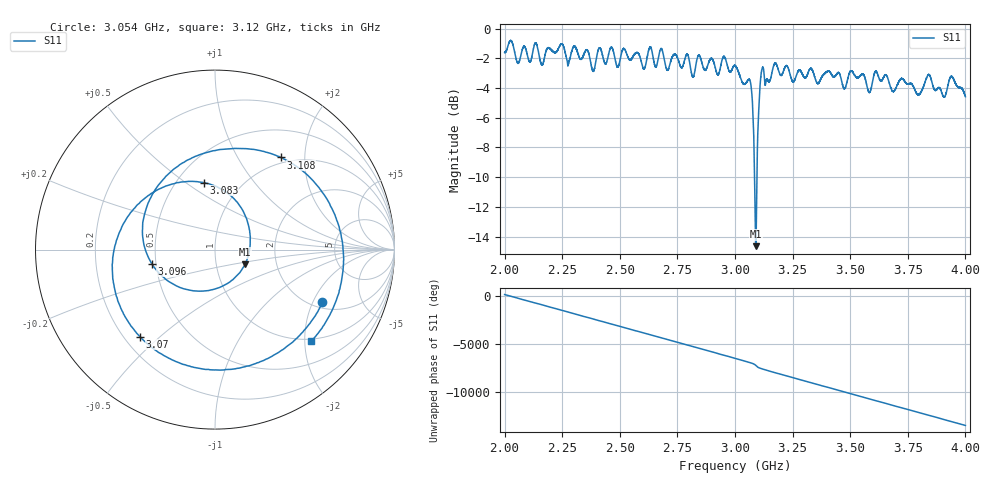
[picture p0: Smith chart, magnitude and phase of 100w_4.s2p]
!Agilent Technologies,E8362B,MY43021131,A.07.50.67
!Agilent E8362B: A.07.50.67
!Date: Thursday, March 14, 2024 14:07:47
!Correction: S11(Off)
!S21(Off)
!S12(Off)
!S22(Off)
!S2P File: Measurements: S11, S21, S12, S22:
# Hz S  RI  R 50
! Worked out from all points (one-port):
!   20001 points, 2 GHz to 4 GHz, reference 50 ohm
!   lowest |S11| = -14.6 dB at 3.09 GHz (marker M1), VSWR 1.45, Z = 68.8 - j11.6 ohm
!   |S11| at or under -10 dB: 3.085043 GHz to 3.095195 GHz (10.15 MHz wide, 0.329 % of centre)
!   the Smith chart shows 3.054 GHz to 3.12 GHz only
!   S11 on the Smith chart (normalised r, x): 3.054 GHz: 2.24, -2.37; 3.07 GHz: 0.26, -0.43; 3.083 GHz: 0.68, +0.59; 3.096 GHz: 0.47, -0.08; 3.108 GHz: 0.90, +1.54; 3.12 GHz: 0.95, -2.14
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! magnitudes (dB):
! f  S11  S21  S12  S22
! 2 GHz  -1.6  -  -  -
! 2.333 GHz  -2.1  -  -  -
! 2.667 GHz  -2.0  -  -  -
! 3 GHz  -2.5  -  -  -
! 3.054 GHz  -3.5  -  -  -
! 3.07 GHz  -3.9  -  -  -
! 3.083 GHz  -8.4  -  -  -
! 3.09 GHz  -14.6  -  -  -
! 3.096 GHz  -8.8  -  -  -
! 3.108 GHz  -4.0  -  -  -
! 3.12 GHz  -2.6  -  -  -
! 3.333 GHz  -2.7  -  -  -
! 3.475 GHz  -4.1  -  -  -
! 3.553 GHz  -3.1  -  -  -
! 3.583 GHz  -4.3  -  -  -
! 3.611 GHz  -2.9  -  -  -
! 3.667 GHz  -3.5  -  -  -
! 3.797 GHz  -4.5  -  -  -
! 3.841 GHz  -3.1  -  -  -
! 3.907 GHz  -4.6  -  -  -
! 3.941 GHz  -3.2  -  -  -
! 4 GHz  -4.6  -  -  -
